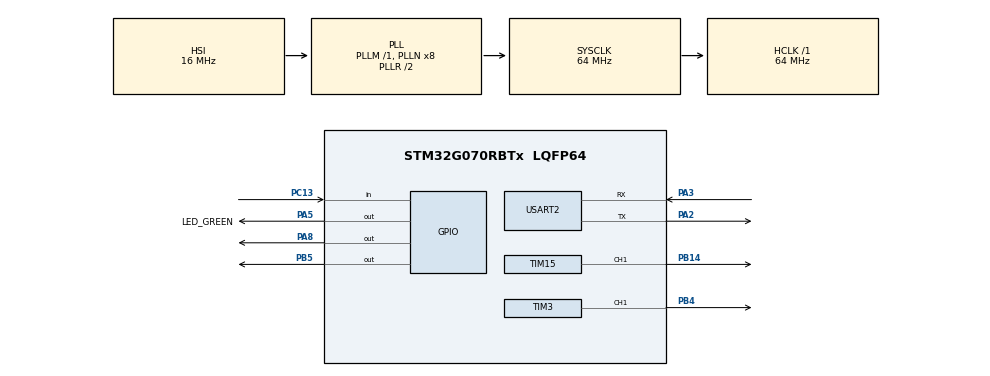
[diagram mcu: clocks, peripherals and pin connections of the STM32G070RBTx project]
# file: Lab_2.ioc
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Mcu.Family=STM32G0
Mcu.Name=STM32G070RBTx
Mcu.Package=LQFP64
NVIC.TIM15_IRQn=true\:0\:0\:false\:false\:true\:true\:true
NVIC.TIM3_IRQn=true\:0\:0\:false\:false\:true\:true\:true
PA13.GPIO_Label=TMS
PA13.Mode=Serial_Wire
PA13.Signal=SYS_SWDIO
PA14-BOOT0.GPIO_Label=TCK
PA14-BOOT0.Mode=Serial_Wire
PA14-BOOT0.Signal=SYS_SWCLK
PA2.GPIO_PuPd=GPIO_PULLUP
PA2.Mode=Asynchronous
PA2.Signal=USART2_TX
PA3.GPIO_PuPd=GPIO_PULLUP
PA3.Mode=Asynchronous
PA3.Signal=USART2_RX
PA5.GPIO_Label=LED_GREEN
PA5.GPIO_Speed=GPIO_SPEED_FREQ_HIGH
PA5.Signal=GPIO_Output
PA8.Signal=GPIO_Output
PB14.Signal=S_TIM15_CH1
PB4.Signal=S_TIM3_CH1
PB5.Signal=GPIO_Output
PC13.Signal=GPIO_Input
PC14-OSC32_IN\ (PC14).Mode=LSE-External-Oscillator
PC14-OSC32_IN\ (PC14).Signal=RCC_OSC32_IN
PC15-OSC32_OUT\ (PC15).Mode=LSE-External-Oscillator
PC15-OSC32_OUT\ (PC15).Signal=RCC_OSC32_OUT
PF0-OSC_IN\ (PF0).GPIO_Label=MCO
PF0-OSC_IN\ (PF0).Mode=HSE-External-Clock-Source
PF0-OSC_IN\ (PF0).Signal=RCC_OSC_IN
ProjectManager.HeapSize=0x200
ProjectManager.StackSize=0x400
ProjectManager.TargetToolchain=EWARM V8.32
RCC.ADCFreq_Value=64000000
RCC.AHBFreq_Value=64000000
RCC.CortexFreq_Value=64000000
RCC.EXTERNAL_CLOCK_VALUE=12288000
RCC.HCLKFreq_Value=64000000
RCC.HSE_VALUE=8000000
RCC.HSI_VALUE=16000000
RCC.SYSCLKFreq_VALUE=64000000
RCC.SYSCLKSource=RCC_SYSCLKSOURCE_PLLCLK
RCC.VCOOutputFreq_Value=128000000
SH.S_TIM15_CH1.0=TIM15_CH1,PWM Generation1 CH1
SH.S_TIM3_CH1.0=TIM3_CH1,PWM Generation1 CH1
TIM15.Channel-PWM\ Generation1\ CH1=TIM_CHANNEL_1
TIM15.Period=65535
TIM15.Pulse-PWM\ Generation1\ CH1=4000
TIM3.Channel-PWM\ Generation1\ CH1=TIM_CHANNEL_1
TIM3.CounterMode=TIM_COUNTERMODE_UP
TIM3.Period=65535
TIM3.Pulse-PWM\ Generation1\ CH1=0
USART2.VirtualMode-Asynchronous=VM_ASYNC
USART2.WordLength=WORDLENGTH_7B
VP_SYS_VS_DBSignals.Mode=DisableDeadBatterySignals
board=NUCLEO-G070RB

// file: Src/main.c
/* USER CODE BEGIN Header */
/**
  ******************************************************************************
  * @file           : main.c
  * @brief          : Main program body
  ******************************************************************************
  * @attention
  *
  * <h2><center>&copy; Copyright (c) 2021 STMicroelectronics.
  * All rights reserved.</center></h2>
  *
  * This software component is licensed by ST under BSD 3-Clause license,
  * the "License"; You may not use this file except in compliance with the
  * License. You may obtain a copy of the License at:
  *                        opensource.org/licenses/BSD-3-Clause
  *
  ******************************************************************************
  */
/* USER CODE END Header */

#include "main.h"

/* USER CODE BEGIN PD */
#define true 1
#define false 0
/* USER CODE END PD */

TIM_HandleTypeDef htim3;
TIM_HandleTypeDef htim15;

UART_HandleTypeDef huart2;

/* USER CODE BEGIN PV */

typedef enum __Direction__{
  FORWARD,
  BACKWARD,
  STOP
} dir;

/* USER CODE END PV */

void SystemClock_Config(void);
static void MX_GPIO_Init(void);
static void MX_USART2_UART_Init(void);
static void MX_TIM3_Init(void);
static void MX_TIM15_Init(void);
/* USER CODE BEGIN PFP */
void setSpeed(dir direction, uint16_t value);
void setDirection(dir direction);

/* USER CODE END PFP */

int main(void)
{

  /* MCU Configuration--------------------------------------------------------*/

  /* Reset of all peripherals, Initializes the Flash interface and the Systick. */
  HAL_Init();

  /* USER CODE BEGIN Init */
  uint8_t isPressed = 0;
  GPIO_PinState buttonState;
  uint8_t toggle = 0;
  uint16_t counter = 0;
  dir direction = FORWARD;

  /* USER CODE END Init */

  /* Configure the system clock */
  SystemClock_Config();

  /* Initialize all configured peripherals */
  MX_GPIO_Init();
  MX_USART2_UART_Init();
  MX_TIM3_Init();
  MX_TIM15_Init();
  /* USER CODE BEGIN 2 */
  HAL_TIM_PWM_Start_IT(&htim15, TIM_CHANNEL_1);
  HAL_TIM_PWM_Start_IT(&htim3, TIM_CHANNEL_1);
  /* USER CODE END 2 */

  /* Infinite loop */
  /* USER CODE BEGIN WHILE */
  while (1)
  {
    buttonState = HAL_GPIO_ReadPin(GPIOC, GPIO_PIN_13);
    if( isPressed == 0 && buttonState == GPIO_PIN_SET){
      buttonState = HAL_GPIO_ReadPin(GPIOC, GPIO_PIN_13);
      isPressed = 1;
      if (toggle) {
        toggle = 0;
        direction = FORWARD;
        setDirection(FORWARD);
        HAL_Delay(100);
        setSpeed(FORWARD, 0);
        counter = 0;
      } else {
        toggle = 1;
        direction = BACKWARD;
        setDirection(BACKWARD);
        HAL_Delay(100);
        setSpeed(BACKWARD, 0);
        counter = 0;
      }
    } else if (buttonState == GPIO_PIN_RESET) {
      isPressed = 0U;
    }

    setSpeed(direction, counter);
    counter++;
    HAL_Delay(10);
    /* USER CODE END WHILE */

  }
}

void SystemClock_Config(void)
{
  RCC_OscInitTypeDef RCC_OscInitStruct = {0};
  RCC_ClkInitTypeDef RCC_ClkInitStruct = {0};
  RCC_PeriphCLKInitTypeDef PeriphClkInit = {0};

  /** Configure the main internal regulator output voltage
  */
  HAL_PWREx_ControlVoltageScaling(PWR_REGULATOR_VOLTAGE_SCALE1);
  /** Initializes the CPU, AHB and APB busses clocks
  */
  RCC_OscInitStruct.OscillatorType = RCC_OSCILLATORTYPE_HSI;
  RCC_OscInitStruct.HSIState = RCC_HSI_ON;
  RCC_OscInitStruct.HSIDiv = RCC_HSI_DIV1;
  RCC_OscInitStruct.HSICalibrationValue = RCC_HSICALIBRATION_DEFAULT;
  RCC_OscInitStruct.PLL.PLLState = RCC_PLL_ON;
  RCC_OscInitStruct.PLL.PLLSource = RCC_PLLSOURCE_HSI;
  RCC_OscInitStruct.PLL.PLLM = RCC_PLLM_DIV1;
  RCC_OscInitStruct.PLL.PLLN = 8;
  RCC_OscInitStruct.PLL.PLLP = RCC_PLLP_DIV2;
  RCC_OscInitStruct.PLL.PLLR = RCC_PLLR_DIV2;
  if (HAL_RCC_OscConfig(&RCC_OscInitStruct) != HAL_OK)
  {
    Error_Handler();
  }
  /** Initializes the CPU, AHB and APB busses clocks
  */
  RCC_ClkInitStruct.ClockType = RCC_CLOCKTYPE_HCLK|RCC_CLOCKTYPE_SYSCLK
                              |RCC_CLOCKTYPE_PCLK1;
  RCC_ClkInitStruct.SYSCLKSource = RCC_SYSCLKSOURCE_PLLCLK;
  RCC_ClkInitStruct.AHBCLKDivider = RCC_SYSCLK_DIV1;
  RCC_ClkInitStruct.APB1CLKDivider = RCC_HCLK_DIV1;

  if (HAL_RCC_ClockConfig(&RCC_ClkInitStruct, FLASH_LATENCY_2) != HAL_OK)
  {
    Error_Handler();
  }
  /** Initializes the peripherals clocks
  */
  PeriphClkInit.PeriphClockSelection = RCC_PERIPHCLK_USART2;
  PeriphClkInit.Usart2ClockSelection = RCC_USART2CLKSOURCE_PCLK1;
  if (HAL_RCCEx_PeriphCLKConfig(&PeriphClkInit) != HAL_OK)
  {
    Error_Handler();
  }
}

static void MX_TIM3_Init(void)
{

  TIM_MasterConfigTypeDef sMasterConfig = {0};
  TIM_OC_InitTypeDef sConfigOC = {0};

  htim3.Instance = TIM3;
  htim3.Init.Prescaler = 0;
  htim3.Init.CounterMode = TIM_COUNTERMODE_UP;
  htim3.Init.Period = 65535;
  htim3.Init.ClockDivision = TIM_CLOCKDIVISION_DIV1;
  htim3.Init.AutoReloadPreload = TIM_AUTORELOAD_PRELOAD_DISABLE;
  if (HAL_TIM_PWM_Init(&htim3) != HAL_OK)
  {
    Error_Handler();
  }
  sMasterConfig.MasterOutputTrigger = TIM_TRGO_RESET;
  sMasterConfig.MasterSlaveMode = TIM_MASTERSLAVEMODE_DISABLE;
  if (HAL_TIMEx_MasterConfigSynchronization(&htim3, &sMasterConfig) != HAL_OK)
  {
    Error_Handler();
  }
  sConfigOC.OCMode = TIM_OCMODE_PWM1;
  sConfigOC.Pulse = 0;
  sConfigOC.OCPolarity = TIM_OCPOLARITY_HIGH;
  sConfigOC.OCFastMode = TIM_OCFAST_DISABLE;
  if (HAL_TIM_PWM_ConfigChannel(&htim3, &sConfigOC, TIM_CHANNEL_1) != HAL_OK)
  {
    Error_Handler();
  }
  HAL_TIM_MspPostInit(&htim3);

}

static void MX_TIM15_Init(void)
{

  TIM_MasterConfigTypeDef sMasterConfig = {0};
  TIM_OC_InitTypeDef sConfigOC = {0};
  TIM_BreakDeadTimeConfigTypeDef sBreakDeadTimeConfig = {0};

  htim15.Instance = TIM15;
  htim15.Init.Prescaler = 0;
  htim15.Init.CounterMode = TIM_COUNTERMODE_UP;
  htim15.Init.Period = 65535;
  htim15.Init.ClockDivision = TIM_CLOCKDIVISION_DIV1;
  htim15.Init.RepetitionCounter = 0;
  htim15.Init.AutoReloadPreload = TIM_AUTORELOAD_PRELOAD_DISABLE;
  if (HAL_TIM_PWM_Init(&htim15) != HAL_OK)
  {
    Error_Handler();
  }
  sMasterConfig.MasterOutputTrigger = TIM_TRGO_RESET;
  sMasterConfig.MasterSlaveMode = TIM_MASTERSLAVEMODE_DISABLE;
  if (HAL_TIMEx_MasterConfigSynchronization(&htim15, &sMasterConfig) != HAL_OK)
  {
    Error_Handler();
  }
  sConfigOC.OCMode = TIM_OCMODE_PWM1;
  sConfigOC.Pulse = 4000;
  sConfigOC.OCPolarity = TIM_OCPOLARITY_HIGH;
  sConfigOC.OCNPolarity = TIM_OCNPOLARITY_HIGH;
  sConfigOC.OCFastMode = TIM_OCFAST_DISABLE;
  sConfigOC.OCIdleState = TIM_OCIDLESTATE_RESET;
  sConfigOC.OCNIdleState = TIM_OCNIDLESTATE_RESET;
  if (HAL_TIM_PWM_ConfigChannel(&htim15, &sConfigOC, TIM_CHANNEL_1) != HAL_OK)
  {
    Error_Handler();
  }
  sBreakDeadTimeConfig.OffStateRunMode = TIM_OSSR_DISABLE;
  sBreakDeadTimeConfig.OffStateIDLEMode = TIM_OSSI_DISABLE;
  sBreakDeadTimeConfig.LockLevel = TIM_LOCKLEVEL_OFF;
  sBreakDeadTimeConfig.DeadTime = 0;
  sBreakDeadTimeConfig.BreakState = TIM_BREAK_DISABLE;
  sBreakDeadTimeConfig.BreakPolarity = TIM_BREAKPOLARITY_HIGH;
  sBreakDeadTimeConfig.BreakFilter = 0;
  sBreakDeadTimeConfig.AutomaticOutput = TIM_AUTOMATICOUTPUT_DISABLE;
  if (HAL_TIMEx_ConfigBreakDeadTime(&htim15, &sBreakDeadTimeConfig) != HAL_OK)
  {
    Error_Handler();
  }
  HAL_TIM_MspPostInit(&htim15);

}

static void MX_USART2_UART_Init(void)
{

  huart2.Instance = USART2;
  huart2.Init.BaudRate = 115200;
  huart2.Init.WordLength = UART_WORDLENGTH_7B;
  huart2.Init.StopBits = UART_STOPBITS_1;
  huart2.Init.Parity = UART_PARITY_NONE;
  huart2.Init.Mode = UART_MODE_TX_RX;
  huart2.Init.HwFlowCtl = UART_HWCONTROL_NONE;
  huart2.Init.OverSampling = UART_OVERSAMPLING_16;
  huart2.Init.OneBitSampling = UART_ONE_BIT_SAMPLE_DISABLE;
  huart2.Init.ClockPrescaler = UART_PRESCALER_DIV1;
  huart2.AdvancedInit.AdvFeatureInit = UART_ADVFEATURE_NO_INIT;
  if (HAL_UART_Init(&huart2) != HAL_OK)
  {
    Error_Handler();
  }
  if (HAL_UARTEx_SetTxFifoThreshold(&huart2, UART_TXFIFO_THRESHOLD_1_8) != HAL_OK)
  {
    Error_Handler();
  }
  if (HAL_UARTEx_SetRxFifoThreshold(&huart2, UART_RXFIFO_THRESHOLD_1_8) != HAL_OK)
  {
    Error_Handler();
  }
  if (HAL_UARTEx_DisableFifoMode(&huart2) != HAL_OK)
  {
    Error_Handler();
  }

}

static void MX_GPIO_Init(void)
{
  GPIO_InitTypeDef GPIO_InitStruct = {0};

  /* GPIO Ports Clock Enable */
  __HAL_RCC_GPIOC_CLK_ENABLE();
  __HAL_RCC_GPIOF_CLK_ENABLE();
  __HAL_RCC_GPIOA_CLK_ENABLE();
  __HAL_RCC_GPIOB_CLK_ENABLE();

  /*Configure GPIO pin Output Level */
  HAL_GPIO_WritePin(GPIOA, LED_GREEN_Pin|GPIO_PIN_8, GPIO_PIN_RESET);

  /*Configure GPIO pin Output Level */
  HAL_GPIO_WritePin(GPIOB, GPIO_PIN_5, GPIO_PIN_RESET);

  /*Configure GPIO pin : PC13 */
  GPIO_InitStruct.Pin = GPIO_PIN_13;
  GPIO_InitStruct.Mode = GPIO_MODE_INPUT;
  GPIO_InitStruct.Pull = GPIO_NOPULL;
  HAL_GPIO_Init(GPIOC, &GPIO_InitStruct);

  /*Configure GPIO pin : LED_GREEN_Pin */
  GPIO_InitStruct.Pin = LED_GREEN_Pin;
  GPIO_InitStruct.Mode = GPIO_MODE_OUTPUT_PP;
  GPIO_InitStruct.Pull = GPIO_NOPULL;
  GPIO_InitStruct.Speed = GPIO_SPEED_FREQ_HIGH;
  HAL_GPIO_Init(LED_GREEN_GPIO_Port, &GPIO_InitStruct);

  /*Configure GPIO pin : PA8 */
  GPIO_InitStruct.Pin = GPIO_PIN_8;
  GPIO_InitStruct.Mode = GPIO_MODE_OUTPUT_PP;
  GPIO_InitStruct.Pull = GPIO_NOPULL;
  GPIO_InitStruct.Speed = GPIO_SPEED_FREQ_LOW;
  HAL_GPIO_Init(GPIOA, &GPIO_InitStruct);

  /*Configure GPIO pin : PB5 */
  GPIO_InitStruct.Pin = GPIO_PIN_5;
  GPIO_InitStruct.Mode = GPIO_MODE_OUTPUT_PP;
  GPIO_InitStruct.Pull = GPIO_NOPULL;
  GPIO_InitStruct.Speed = GPIO_SPEED_FREQ_LOW;
  HAL_GPIO_Init(GPIOB, &GPIO_InitStruct);

}

/* USER CODE BEGIN 4 */
void setSpeed(dir direction, uint16_t value){

  TIM_OC_InitTypeDef sConfig;
  sConfig.Pulse = value;
  sConfig.OCMode = TIM_OCMODE_PWM1;
  sConfig.OCPolarity = TIM_OCPOLARITY_HIGH;
  sConfig.OCFastMode = TIM_OCFAST_DISABLE;

  if(direction == FORWARD){
    HAL_TIM_PWM_Stop(&htim3, TIM_CHANNEL_1);
    HAL_TIM_PWM_ConfigChannel(&htim3, &sConfig, TIM_CHANNEL_1);
    HAL_TIM_PWM_Start(&htim3, TIM_CHANNEL_1);
  } else {
    sConfig.OCNPolarity = TIM_OCNPOLARITY_HIGH;
    sConfig.OCIdleState = TIM_OCIDLESTATE_RESET;
    sConfig.OCNIdleState = TIM_OCNIDLESTATE_RESET;

    HAL_TIM_PWM_Stop(&htim15, TIM_CHANNEL_1);
    HAL_TIM_PWM_ConfigChannel(&htim15, &sConfig, TIM_CHANNEL_1);
    HAL_TIM_PWM_Start(&htim15, TIM_CHANNEL_1);
  }
}

void setDirection(dir direction){
  TIM_OC_InitTypeDef sConfigOC;
  sConfigOC.OCMode = TIM_OCMODE_PWM1;
  sConfigOC.Pulse = 0;
  sConfigOC.OCPolarity = TIM_OCPOLARITY_HIGH;
  sConfigOC.OCNPolarity = TIM_OCNPOLARITY_HIGH;
  sConfigOC.OCFastMode = TIM_OCFAST_DISABLE;
  sConfigOC.OCIdleState = TIM_OCIDLESTATE_RESET;
  sConfigOC.OCNIdleState = TIM_OCNIDLESTATE_RESET;

  if(direction == FORWARD) {
    HAL_TIM_PWM_Stop(&htim15, TIM_CHANNEL_1);
    HAL_TIM_PWM_ConfigChannel(&htim15, &sConfigOC, TIM_CHANNEL_1);
    HAL_GPIO_WritePin(GPIOB, GPIO_PIN_5, GPIO_PIN_RESET);
    HAL_Delay(500);

    HAL_GPIO_WritePin(GPIOA, GPIO_PIN_8, GPIO_PIN_SET);
  } else if (direction == BACKWARD){
    HAL_TIM_PWM_Stop(&htim3, TIM_CHANNEL_1);
    HAL_TIM_PWM_ConfigChannel(&htim3, &sConfigOC, TIM_CHANNEL_1);
    HAL_GPIO_WritePin(GPIOA, GPIO_PIN_8, GPIO_PIN_RESET);
    HAL_Delay(500);

    HAL_GPIO_WritePin(GPIOB, GPIO_PIN_5, GPIO_PIN_SET);
  } else {
    HAL_TIM_PWM_Stop(&htim3, TIM_CHANNEL_1);
    HAL_TIM_PWM_ConfigChannel(&htim3, &sConfigOC, TIM_CHANNEL_1);
    HAL_TIM_PWM_Stop(&htim15, TIM_CHANNEL_1);
    HAL_TIM_PWM_ConfigChannel(&htim15, &sConfigOC, TIM_CHANNEL_1);
    HAL_GPIO_WritePin(GPIOB, GPIO_PIN_5, GPIO_PIN_SET);
    HAL_GPIO_WritePin(GPIOA, GPIO_PIN_8, GPIO_PIN_SET);

  }

}
/* USER CODE END 4 */

void Error_Handler(void)
{
}

/************************ (C) COPYRIGHT STMicroelectronics *****END OF FILE****/
